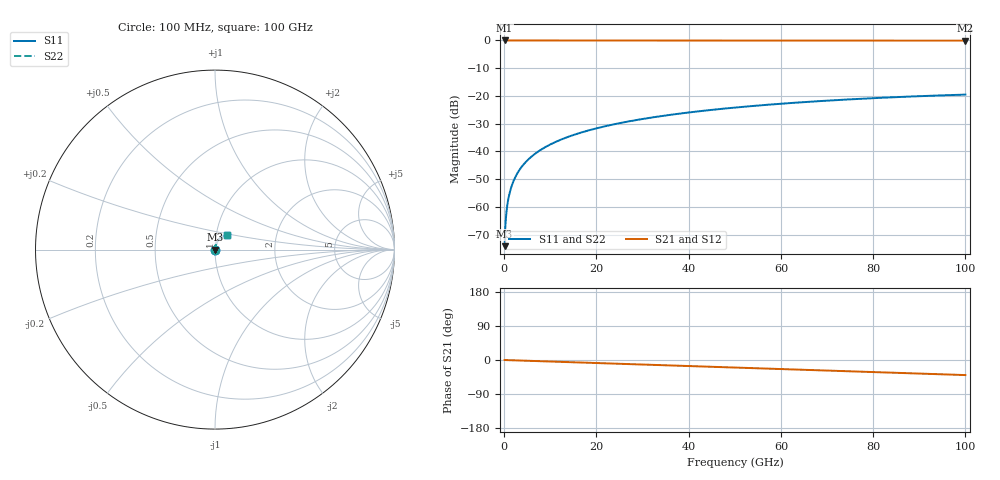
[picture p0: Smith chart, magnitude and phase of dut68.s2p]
! Touchstone file exported from HFSS 2026.1.0
!  File:  C:/ffzhzh/LocalFiles/Ansys_Project_Files/temp_train_TSV_68_1783505225_9504.aedt
!  Generated:  06:08:27 PM Jul  8, 2026
!  Design:  TSV
!  Project:  temp_train_TSV_68_1783505225_9504
! Variables:
!  h_bsmrdl = 2um
!  h_ox = 20um
!  h_rdl = 5um
!  h_sub = 74.56um
!  h_tmrdl = 5um
!  h_tsv = 74.56um
!  h_via = 3um
!  l_bsmrdl = 300um
!  l_sub = 422.44um
!  l_tmrdl = 200um
!  m_sub = 200um
!  pitch = 55.65um
!  r_tsv = 11.22um
!  s_tmrdl = 10um
!  w_bsmrdl = 18um
!  w_sub = 500um
!  w_tmrdl = 12um
!  x_tsv_center1 = 206um
!  x_tsv_center2 = 524um
!  x_tsv_center3 = 736um
!  x_tsv_center4 = 1054um
!  x_tsv_center5 = 1266um
!  x_tsv_center6 = 1584um
# GHz S MA R 50.000000
! Terminal data exported
! Port[1] = TSV1_1_T1
! Port[2] = TSV1_1_T2
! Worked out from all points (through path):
!   1000 points, 100 MHz to 100 GHz, reference 50 ohm
!   highest |S21| = 0.00 dB at 100 MHz (marker M1); lowest = -0.1 dB at 100 GHz (marker M2)
!   group delay of S21, straight-line fit = 1.1 ps
!   lowest |S11| = -74.2 dB at 100 MHz (marker M3), VSWR 1.00, Z = 50 + j0.0168 ohm
!   |S11| at or under -10 dB: start of sweep to end of sweep
!   |S22| runs from -74.2 to -19.5 dB; largest |S21 - S12| = 4.5e-15
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0.1  0.0001955 59.4  0.9999 -0.0  0.9999 -0.0  0.0001955 59.4
! Gamma 0 0 0 0
! Port Impedance 50 0 50 0
0.3  0.0005092 75.3  0.9999 -0.1  0.9999 -0.1  0.0005092 75.3
0.7  0.0011 79.2  0.9998 -0.3  0.9998 -0.3  0.0011 79.2
0.8  0.00124 79.6  0.9998 -0.3  0.9998 -0.3  0.00124 79.6
1  0.001517 80.4  0.9998 -0.4  0.9998 -0.4  0.001517 80.4
1.3  0.001927 81.2  0.9997 -0.5  0.9997 -0.5  0.001927 81.2
1.8  0.002605 82.2  0.9997 -0.7  0.9997 -0.7  0.002605 82.2
2.3  0.003279 82.7  0.9996 -0.9  0.9996 -0.9  0.003279 82.7
3  0.004213 83.1  0.9996 -1.2  0.9996 -1.2  0.004213 83.1
3.8  0.005271 83.3  0.9995 -1.5  0.9995 -1.5  0.005271 83.3
4.8  0.006583 83.5  0.9994 -1.9  0.9994 -1.9  0.006583 83.5
6  0.008149 83.4  0.9994 -2.4  0.9994 -2.4  0.008149 83.4
8.8  0.01178 83.0  0.9992 -3.5  0.9992 -3.5  0.01178 83.0
12.4  0.01641 82.0  0.999 -5.0  0.999 -5.0  0.01641 82.0
16.8  0.022 80.7  0.9988 -6.7  0.9988 -6.7  0.022 80.7
24.2  0.03126 78.2  0.9983 -9.7  0.9983 -9.7  0.03126 78.1
33.4  0.04249 74.8  0.9977 -13.3  0.9977 -13.3  0.04249 74.8
41.2  0.05168 71.9  0.9971 -16.4  0.9971 -16.4  0.05168 71.9
50.1  0.06174 68.5  0.9964 -19.9  0.9964 -19.9  0.06174 68.5
66.7  0.07898 62.1  0.9949 -26.5  0.9949 -26.5  0.07898 62.1
83.4  0.09387 55.7  0.9933 -33.2  0.9933 -33.2  0.09388 55.6
100  0.1056 49.2  0.9917 -39.8  0.9917 -39.8  0.1056 49.2
